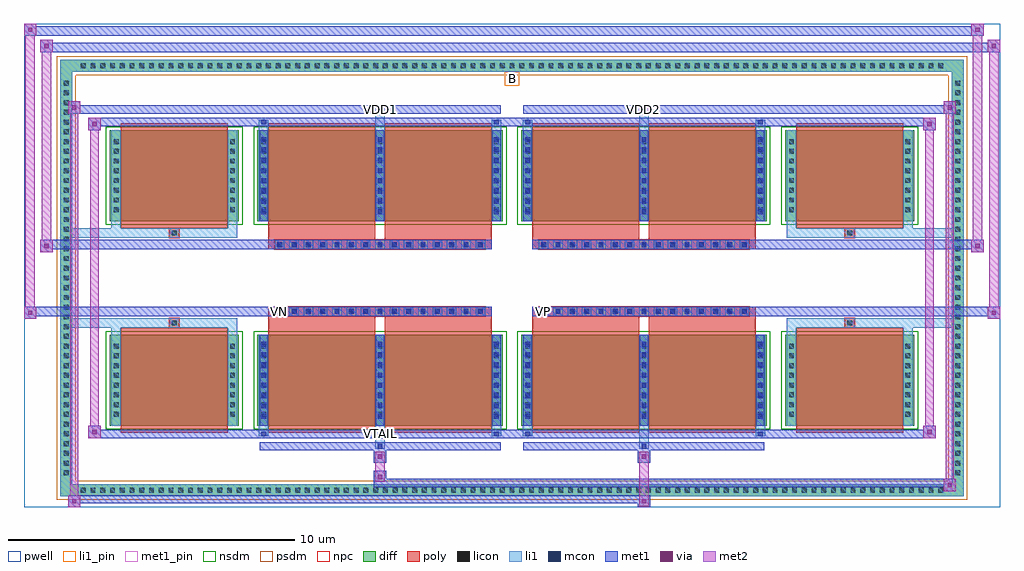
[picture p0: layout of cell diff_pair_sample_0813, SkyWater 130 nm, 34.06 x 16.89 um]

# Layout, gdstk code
import gdstk
lib = gdstk.Library(unit=1e-6, precision=5e-09)
def R(c, l, rs):  # rectangles x0, y0, x1, y1
    for r in rs: c.add(gdstk.rectangle(r[:2], r[2:], *l))
def A(c, l, x, y, w, h, nx, ny, dx, dy):  # array of equal rectangles
    R(c, l, [(x+i*dx, y+j*dy, x+i*dx+w, y+j*dy+h) for i in range(nx) for j in range(ny)])
def P(c, l, *ps):  # polygons
    for p in ps: c.add(gdstk.Polygon(p, *l))
pwell = (64, 44)
diff = (65, 20)
poly = (66, 20)
licon = (66, 44)
li1_pin = (67, 16)
li1 = (67, 20)
mcon = (67, 44)
met1_pin = (68, 16)
met1 = (68, 20)
via = (68, 44)
met2 = (69, 20)
nsdm = (93, 44)
psdm = (94, 20)
npc = (95, 20)

diff_pair_sample_0813 = lib.new_cell('diff_pair_sample_0813')
R(diff_pair_sample_0813, pwell, [(-17.03,-8.01,17.03,8.88), (-14.35,-6.2,-0.01,-0.8), (0.01,-6.2,14.35,-0.8), (-14.35,0.8,-0.01,6.2), (0.01,0.8,14.35,6.2)])
A(diff_pair_sample_0813, diff, -15.165, -7.61, 0.41, 0.41, 89, 2, 0.34, 14.81)
A(diff_pair_sample_0813, diff, -15.76, -7.005, 0.41, 0.41, 1, 41, 0, 0.34)
A(diff_pair_sample_0813, diff, 15.35, -7.005, 0.41, 0.41, 1, 41, 0, 0.34)
R(diff_pair_sample_0813, diff, [(-15.165,-7.61,15.165,-7.2), (-15.76,-7.005,-15.35,7.005), (15.35,-7.005,15.76,7.005), (-14.04,-5.155,-9.53,-1.985), (-8.89,-5.155,-0.32,-1.985), (0.32,-5.155,8.89,-1.985), (9.53,-5.155,14.04,-1.985), (-14.04,1.985,-9.53,5.155), (-8.89,1.985,-0.32,5.155), (0.32,1.985,8.89,5.155), (9.53,1.985,14.04,5.155), (-15.165,7.2,15.165,7.61)])
P(diff_pair_sample_0813, diff, [(15.76,7.61),(-15.76,7.61),(-15.76,-7.2),(-15.35,-7.2),(-15.35,7.2),(15.35,7.2),(15.35,-7.2),(-15.35,-7.2),(-15.76,-7.2),(-15.76,-7.61),(15.76,-7.61)])
A(diff_pair_sample_0813, poly, -8.27, -1.33, 0.33, 0.33, 15, 2, 0.5, 2.33)
A(diff_pair_sample_0813, poly, 0.94, -1.33, 0.33, 0.33, 15, 2, 0.5, 2.33)
R(diff_pair_sample_0813, poly, [(-13.65,-5.405,-9.92,-1.735), (-8.5,-5.405,-4.77,-1.735), (-4.44,-5.405,-0.71,-1.735), (0.71,-5.405,4.44,-1.735), (4.77,-5.405,8.5,-1.735), (9.92,-5.405,13.65,-1.735), (-11.95,-1.735,-11.62,-1.405), (-11.95,-1.735,-11.62,-1.405), (-8.5,-1.735,-4.77,-1.33), (-4.44,-1.735,-0.71,-1.33), (0.71,-1.735,4.44,-1.33), (4.77,-1.735,8.5,-1.33), (11.62,-1.735,11.95,-1.405), (11.62,-1.735,11.95,-1.405), (-8.5,-1.33,-0.71,-1), (0.71,-1.33,8.5,-1), (-8.5,1,-0.71,1.33), (0.71,1,8.5,1.33), (-8.5,1.33,-4.77,1.735), (-4.44,1.33,-0.71,1.735), (0.71,1.33,4.44,1.735), (4.77,1.33,8.5,1.735), (-11.95,1.405,-11.62,1.735), (-11.95,1.405,-11.62,1.735), (11.62,1.405,11.95,1.735), (11.62,1.405,11.95,1.735), (-13.65,1.735,-9.92,5.405), (-8.5,1.735,-4.77,5.405), (-4.44,1.735,-0.71,5.405), (0.71,1.735,4.44,5.405), (4.77,1.735,8.5,5.405), (9.92,1.735,13.65,5.405)])
A(diff_pair_sample_0813, licon, -15.045, -7.49, 0.17, 0.17, 89, 2, 0.34, 14.81)
A(diff_pair_sample_0813, licon, -15.64, -6.885, 0.17, 0.17, 1, 41, 0, 0.34)
A(diff_pair_sample_0813, licon, 15.47, -6.885, 0.17, 0.17, 1, 41, 0, 0.34)
A(diff_pair_sample_0813, licon, -13.9, -4.845, 0.17, 0.17, 1, 8, 0, 0.34)
A(diff_pair_sample_0813, licon, -9.84, -4.845, 0.17, 0.17, 1, 8, 0, 0.34)
A(diff_pair_sample_0813, licon, -8.75, -4.845, 0.17, 0.17, 3, 8, 4.06, 0.34)
A(diff_pair_sample_0813, licon, 0.46, -4.845, 0.17, 0.17, 3, 8, 4.06, 0.34)
A(diff_pair_sample_0813, licon, 9.67, -4.845, 0.17, 0.17, 1, 8, 0, 0.34)
A(diff_pair_sample_0813, licon, 13.73, -4.845, 0.17, 0.17, 1, 8, 0, 0.34)
A(diff_pair_sample_0813, licon, -8.19, -1.25, 0.17, 0.17, 15, 2, 0.5, 2.33)
A(diff_pair_sample_0813, licon, 1.02, -1.25, 0.17, 0.17, 15, 2, 0.5, 2.33)
A(diff_pair_sample_0813, licon, -13.9, 2.295, 0.17, 0.17, 1, 8, 0, 0.34)
A(diff_pair_sample_0813, licon, -9.84, 2.295, 0.17, 0.17, 1, 8, 0, 0.34)
A(diff_pair_sample_0813, licon, -8.75, 2.295, 0.17, 0.17, 3, 8, 4.06, 0.34)
A(diff_pair_sample_0813, licon, 0.46, 2.295, 0.17, 0.17, 3, 8, 4.06, 0.34)
A(diff_pair_sample_0813, licon, 9.67, 2.295, 0.17, 0.17, 1, 8, 0, 0.34)
A(diff_pair_sample_0813, licon, 13.73, 2.295, 0.17, 0.17, 1, 8, 0, 0.34)
R(diff_pair_sample_0813, licon, [(-11.87,-1.655,-11.7,-1.485), (11.7,-1.655,11.87,-1.485), (-11.87,1.485,-11.7,1.655), (11.7,1.485,11.87,1.655)])
R(diff_pair_sample_0813, li1_pin, [(-0.25,6.7,0.25,7.2)])
A(diff_pair_sample_0813, li1, -15.125, -7.57, 0.33, 0.33, 89, 2, 0.34, 14.81)
A(diff_pair_sample_0813, li1, -15.72, -6.965, 0.33, 0.33, 1, 41, 0, 0.34)
A(diff_pair_sample_0813, li1, 15.39, -6.965, 0.33, 0.33, 1, 41, 0, 0.34)
A(diff_pair_sample_0813, li1, -8.83, -5.155, 0.33, 3.17, 3, 2, 4.06, 7.14)
A(diff_pair_sample_0813, li1, 0.38, -5.155, 0.33, 3.17, 3, 2, 4.06, 7.14)
A(diff_pair_sample_0813, li1, -13.98, -4.925, 0.33, 0.33, 1, 8, 0, 0.34)
A(diff_pair_sample_0813, li1, -9.92, -4.925, 0.33, 0.33, 1, 8, 0, 0.34)
A(diff_pair_sample_0813, li1, -8.83, -4.925, 0.33, 0.33, 3, 8, 4.06, 0.34)
A(diff_pair_sample_0813, li1, 0.38, -4.925, 0.33, 0.33, 3, 8, 4.06, 0.34)
A(diff_pair_sample_0813, li1, 9.59, -4.925, 0.33, 0.33, 1, 8, 0, 0.34)
A(diff_pair_sample_0813, li1, 13.65, -4.925, 0.33, 0.33, 1, 8, 0, 0.34)
A(diff_pair_sample_0813, li1, -8.75, -4.915, 0.17, 0.17, 3, 8, 4.06, 0.36)
A(diff_pair_sample_0813, li1, -8.75, -4.915, 0.17, 2.69, 3, 2, 4.06, 7.14)
A(diff_pair_sample_0813, li1, 0.46, -4.915, 0.17, 0.17, 3, 8, 4.06, 0.36)
A(diff_pair_sample_0813, li1, 0.46, -4.915, 0.17, 2.69, 3, 2, 4.06, 7.14)
A(diff_pair_sample_0813, li1, -8.27, -1.33, 0.33, 0.33, 15, 2, 0.5, 2.33)
A(diff_pair_sample_0813, li1, 0.94, -1.33, 0.33, 0.33, 15, 2, 0.5, 2.33)
A(diff_pair_sample_0813, li1, -13.98, 2.215, 0.33, 0.33, 1, 8, 0, 0.34)
A(diff_pair_sample_0813, li1, -9.92, 2.215, 0.33, 0.33, 1, 8, 0, 0.34)
A(diff_pair_sample_0813, li1, -8.83, 2.215, 0.33, 0.33, 3, 8, 4.06, 0.34)
A(diff_pair_sample_0813, li1, 0.38, 2.215, 0.33, 0.33, 3, 8, 4.06, 0.34)
A(diff_pair_sample_0813, li1, 9.59, 2.215, 0.33, 0.33, 1, 8, 0, 0.34)
A(diff_pair_sample_0813, li1, 13.65, 2.215, 0.33, 0.33, 1, 8, 0, 0.34)
A(diff_pair_sample_0813, li1, -8.75, 2.225, 0.17, 0.17, 3, 8, 4.06, 0.36)
A(diff_pair_sample_0813, li1, 0.46, 2.225, 0.17, 0.17, 3, 8, 4.06, 0.36)
R(diff_pair_sample_0813, li1, [(-15.76,-7.61,-15.35,-7.2), (-15.76,-7.61,-15.35,-7.2), (-15.35,-7.61,15.35,-7.2), (15.35,-7.61,15.76,-7.2), (15.35,-7.61,15.76,-7.2), (-15.76,-7.2,-15.35,7.2), (15.35,-7.2,15.76,7.2), (-4.77,-5.96,-4.44,-5.155), (-4.69,-5.96,-4.52,-5.79), (4.44,-5.96,4.77,-5.155), (4.52,-5.96,4.69,-5.79), (-8.83,-5.53,-8.5,-5.155), (-8.75,-5.53,-8.58,-5.36), (-0.71,-5.53,-0.38,-5.155), (-0.63,-5.53,-0.46,-5.36), (0.38,-5.53,0.71,-5.155), (0.46,-5.53,0.63,-5.36), (8.5,-5.53,8.83,-5.155), (8.58,-5.53,8.75,-5.36), (-13.98,-5.155,-13.65,-1.985), (-9.92,-5.155,-9.59,-1.985), (9.59,-5.155,9.92,-1.985), (13.65,-5.155,13.98,-1.985), (-13.98,-1.985,-13.65,-1.405), (-9.92,-1.985,-9.59,-1.405), (9.59,-1.985,9.92,-1.405), (13.65,-1.985,13.98,-1.405), (-15.76,-1.735,-11.95,-1.405), (-13.98,-1.735,-11.95,-1.405), (-11.95,-1.735,-11.62,-1.405), (-11.62,-1.735,-9.59,-1.405), (9.59,-1.735,11.62,-1.405), (11.62,-1.735,11.95,-1.405), (11.62,-1.735,15.76,-1.405), (11.95,-1.735,13.98,-1.405), (-15.76,1.405,-11.95,1.735), (-13.98,1.405,-11.95,1.735), (-13.98,1.405,-13.65,1.985), (-11.95,1.405,-11.62,1.735), (-11.62,1.405,-9.59,1.735), (-9.92,1.405,-9.59,1.985), (9.59,1.405,11.62,1.735), (9.59,1.405,9.92,1.985), (11.62,1.405,11.95,1.735), (11.62,1.405,15.76,1.735), (11.95,1.405,13.98,1.735), (13.65,1.405,13.98,1.985), (-13.98,1.985,-13.65,5.155), (-9.92,1.985,-9.59,5.155), (9.59,1.985,9.92,5.155), (13.65,1.985,13.98,5.155), (-8.83,5.155,-8.5,5.53), (-4.77,5.155,-4.44,5.96), (-0.71,5.155,-0.38,5.53), (0.38,5.155,0.71,5.53), (4.44,5.155,4.77,5.96), (8.5,5.155,8.83,5.53), (-8.75,5.36,-8.58,5.53), (-0.63,5.36,-0.46,5.53), (0.46,5.36,0.63,5.53), (8.58,5.36,8.75,5.53), (-4.69,5.79,-4.52,5.96), (4.52,5.79,4.69,5.96), (-15.76,7.2,-15.35,7.61), (-15.76,7.2,-15.35,7.61), (-15.35,7.2,15.35,7.61), (15.35,7.2,15.76,7.61), (15.35,7.2,15.76,7.61)])
A(diff_pair_sample_0813, mcon, -8.75, -4.915, 0.17, 0.17, 3, 8, 4.06, 0.36)
A(diff_pair_sample_0813, mcon, 0.46, -4.915, 0.17, 0.17, 3, 8, 4.06, 0.36)
A(diff_pair_sample_0813, mcon, -8.19, -1.25, 0.17, 0.17, 15, 2, 0.5, 2.33)
A(diff_pair_sample_0813, mcon, 1.02, -1.25, 0.17, 0.17, 15, 2, 0.5, 2.33)
A(diff_pair_sample_0813, mcon, -8.75, 2.225, 0.17, 0.17, 3, 8, 4.06, 0.36)
A(diff_pair_sample_0813, mcon, 0.46, 2.225, 0.17, 0.17, 3, 8, 4.06, 0.36)
R(diff_pair_sample_0813, mcon, [(-4.69,-5.96,-4.52,-5.79), (4.52,-5.96,4.69,-5.79), (-8.75,-5.53,-8.58,-5.36), (-0.63,-5.53,-0.46,-5.36), (0.46,-5.53,0.63,-5.36), (8.58,-5.53,8.75,-5.36), (-8.75,5.36,-8.58,5.53), (-0.63,5.36,-0.46,5.53), (0.46,5.36,0.63,5.53), (8.58,5.36,8.75,5.53), (-4.69,5.79,-4.52,5.96), (4.52,5.79,4.69,5.96)])
R(diff_pair_sample_0813, met1_pin, [(-4.74,-5.57,-4.47,-5.3), (-8.24,-1.29,-7.97,-1.02), (0.97,-1.29,1.24,-1.02), (-4.74,5.75,-4.47,6.02), (4.47,5.75,4.74,6.02)])
A(diff_pair_sample_0813, met1, -8.81, -5.155, 0.29, 3.17, 3, 2, 4.06, 7.14)
A(diff_pair_sample_0813, met1, 0.4, -5.155, 0.29, 3.17, 3, 2, 4.06, 7.14)
A(diff_pair_sample_0813, met1, -8.81, -4.975, 0.29, 0.29, 3, 8, 4.06, 0.36)
A(diff_pair_sample_0813, met1, 0.4, -4.975, 0.29, 0.29, 3, 8, 4.06, 0.36)
A(diff_pair_sample_0813, met1, -8.25, -1.31, 0.29, 0.29, 15, 2, 0.5, 2.33)
A(diff_pair_sample_0813, met1, 0.96, -1.31, 0.29, 0.29, 15, 2, 0.5, 2.33)
A(diff_pair_sample_0813, met1, -8.81, 2.165, 0.29, 0.29, 3, 8, 4.06, 0.36)
A(diff_pair_sample_0813, met1, 0.4, 2.165, 0.29, 0.29, 3, 8, 4.06, 0.36)
R(diff_pair_sample_0813, met1, [(-15.49,-8.01,-15.06,-7.58), (4.39,-8.01,4.82,-7.58), (-15.49,-7.87,4.82,-7.58), (15.06,-7.44,15.49,-7.01), (-4.82,-7.3,15.49,-7.01), (-4.82,-7.16,-4.39,-6.73), (-4.82,-6.45,-4.39,-6.02), (4.39,-6.45,4.82,-6.02), (-8.81,-6.02,-0.4,-5.73), (-4.75,-6.02,-4.46,-5.73), (0.4,-6.02,8.81,-5.73), (4.46,-6.02,4.75,-5.73), (-14.78,-5.59,-14.35,-5.16), (-14.78,-5.59,-8.81,-5.3), (-8.81,-5.59,-8.52,-5.3), (-8.81,-5.59,-0.4,-5.3), (-0.69,-5.59,-0.4,-5.3), (-0.4,-5.59,0.4,-5.3), (0.4,-5.59,0.69,-5.3), (0.4,-5.59,8.81,-5.3), (8.52,-5.59,8.81,-5.3), (8.81,-5.59,14.78,-5.3), (14.35,-5.59,14.78,-5.16), (-17.03,-1.43,-16.6,-1), (16.6,-1.43,17.03,-1), (-17.03,-1.33,-0.71,-1), (-8.5,-1.33,-0.71,-1), (0.71,-1.33,8.5,-1), (0.71,-1.33,17.03,-1), (-16.46,0.9,-16.03,1.33), (16.03,0.9,16.46,1.33), (-16.46,1,-8.5,1.33), (-8.5,1,-0.71,1.33), (0.71,1,8.5,1.33), (8.5,1,16.46,1.33), (-14.78,5.16,-14.35,5.59), (14.35,5.16,14.78,5.59), (-14.78,5.3,-8.81,5.59), (-8.81,5.3,-8.52,5.59), (-8.81,5.3,-0.4,5.59), (-0.69,5.3,-0.4,5.59), (-0.4,5.3,0.4,5.59), (0.4,5.3,0.69,5.59), (0.4,5.3,8.81,5.59), (8.52,5.3,8.81,5.59), (8.81,5.3,14.78,5.59), (-15.49,5.73,-15.06,6.16), (-15.49,5.73,-8.81,6.02), (-8.81,5.73,-0.4,6.02), (-4.75,5.73,-4.46,6.02), (0.4,5.73,8.81,6.02), (4.46,5.73,4.75,6.02), (8.81,5.73,15.49,6.02), (15.06,5.73,15.49,6.16), (-16.46,7.88,-16.03,8.31), (-16.46,7.88,-14.35,8.21), (-14.35,7.88,14.35,8.21), (14.35,7.88,17.03,8.21), (16.6,7.88,17.03,8.31), (-17.03,8.45,-16.6,8.88), (-17.03,8.45,-14.35,8.78), (-14.35,8.45,14.35,8.78), (14.35,8.45,16.46,8.78), (16.03,8.45,16.46,8.88)])
R(diff_pair_sample_0813, via, [(-15.35,-7.87,-15.2,-7.72), (4.53,-7.87,4.68,-7.72), (15.2,-7.3,15.35,-7.15), (-4.68,-7.02,-4.53,-6.87), (-4.68,-6.31,-4.53,-6.16), (4.53,-6.31,4.68,-6.16), (-14.64,-5.45,-14.49,-5.3), (14.49,-5.45,14.64,-5.3), (-16.89,-1.29,-16.74,-1.14), (16.74,-1.29,16.89,-1.14), (-16.32,1.04,-16.17,1.19), (16.17,1.04,16.32,1.19), (-14.64,5.3,-14.49,5.45), (14.49,5.3,14.64,5.45), (-15.35,5.87,-15.2,6.02), (15.2,5.87,15.35,6.02), (-16.32,8.02,-16.17,8.17), (16.74,8.02,16.89,8.17), (-16.89,8.59,-16.74,8.74), (16.17,8.59,16.32,8.74)])
R(diff_pair_sample_0813, met2, [(-15.49,-8.01,-15.06,-7.58), (-15.42,-8.01,-15.13,6.16), (-15.13,-8.01,-15.06,-7.58), (-15.44,-7.96,-15.11,-7.63), (4.44,-7.96,4.77,-7.63), (4.44,-7.63,4.77,-6.4), (15.06,-7.44,15.49,-7.01), (15.13,-7.44,15.42,6.16), (15.42,-7.44,15.49,-7.01), (15.11,-7.39,15.44,-7.06), (-4.77,-7.11,-4.44,-6.78), (-4.77,-6.78,-4.44,-6.4), (-4.77,-6.4,-4.44,-6.07), (4.44,-6.4,4.77,-6.07), (-14.78,-5.59,-14.35,-5.16), (-14.71,-5.59,-14.42,5.59), (-14.42,-5.59,-14.35,-5.16), (14.35,-5.59,14.78,-5.16), (14.42,-5.59,14.71,5.59), (14.71,-5.59,14.78,-5.16), (-14.73,-5.54,-14.4,-5.21), (14.4,-5.54,14.73,-5.21), (-17.03,-1.43,-16.6,-1), (-16.98,-1.43,-16.65,8.88), (-16.65,-1.43,-16.6,-1), (16.6,-1.43,17.03,-1), (16.65,-1.43,16.98,8.31), (16.98,-1.43,17.03,-1), (-16.98,-1.38,-16.65,-1.05), (16.65,-1.38,16.98,-1.05), (-16.46,0.9,-16.03,1.33), (-16.41,0.9,-16.08,8.31), (-16.08,0.9,-16.03,1.33), (16.03,0.9,16.46,1.33), (16.08,0.9,16.41,8.88), (16.41,0.9,16.46,1.33), (-16.41,0.95,-16.08,1.28), (16.08,0.95,16.41,1.28), (-14.78,5.16,-14.35,5.59), (-14.42,5.16,-14.35,5.59), (14.35,5.16,14.78,5.59), (14.71,5.16,14.78,5.59), (-14.73,5.21,-14.4,5.54), (14.4,5.21,14.73,5.54), (-15.49,5.73,-15.06,6.16), (-15.13,5.73,-15.06,6.16), (15.06,5.73,15.49,6.16), (15.42,5.73,15.49,6.16), (-15.44,5.78,-15.11,6.11), (15.11,5.78,15.44,6.11), (-16.46,7.88,-16.03,8.31), (-16.08,7.88,-16.03,8.31), (16.6,7.88,17.03,8.31), (16.98,7.88,17.03,8.31), (-16.41,7.93,-16.08,8.26), (16.65,7.93,16.98,8.26), (-17.03,8.45,-16.6,8.88), (-16.65,8.45,-16.6,8.88), (16.03,8.45,16.46,8.88), (16.41,8.45,16.46,8.88), (-16.98,8.5,-16.65,8.83), (16.08,8.5,16.41,8.83)])
R(diff_pair_sample_0813, nsdm, [(-14.17,-5.285,-9.4,-1.855), (-9.02,-5.285,-0.19,-1.855), (0.19,-5.285,9.02,-1.855), (9.4,-5.285,14.17,-1.855), (-14.17,1.855,-9.4,5.285), (-9.02,1.855,-0.19,5.285), (0.19,1.855,9.02,5.285), (9.4,1.855,14.17,5.285)])
P(diff_pair_sample_0813, psdm, [(15.89,7.74),(-15.89,7.74),(-15.89,-7.07),(-15.22,-7.07),(-15.22,7.07),(15.22,7.07),(15.22,-7.07),(-15.22,-7.07),(-15.89,-7.07),(-15.89,-7.74),(15.89,-7.74)])
A(diff_pair_sample_0813, npc, -8.29, -1.35, 0.37, 0.37, 15, 2, 0.5, 2.33)
A(diff_pair_sample_0813, npc, 0.92, -1.35, 0.37, 0.37, 15, 2, 0.5, 2.33)
R(diff_pair_sample_0813, npc, [(-11.97,-1.755,-11.6,-1.385), (11.6,-1.755,11.97,-1.385), (-8.29,-1.35,-7.42,-0.98), (-8.29,-1.35,-7.42,-0.98), (-7.79,-1.35,-6.92,-0.98), (-7.79,-1.35,-6.92,-0.98), (-7.29,-1.35,-6.42,-0.98), (-7.29,-1.35,-6.42,-0.98), (-6.79,-1.35,-5.92,-0.98), (-6.79,-1.35,-5.92,-0.98), (-6.29,-1.35,-5.42,-0.98), (-6.29,-1.35,-5.42,-0.98), (-5.79,-1.35,-4.92,-0.98), (-5.79,-1.35,-4.92,-0.98), (-5.29,-1.35,-4.42,-0.98), (-5.29,-1.35,-4.42,-0.98), (-4.79,-1.35,-3.92,-0.98), (-4.79,-1.35,-3.92,-0.98), (-4.29,-1.35,-3.42,-0.98), (-4.29,-1.35,-3.42,-0.98), (-3.79,-1.35,-2.92,-0.98), (-3.79,-1.35,-2.92,-0.98), (-3.29,-1.35,-2.42,-0.98), (-3.29,-1.35,-2.42,-0.98), (-2.79,-1.35,-1.92,-0.98), (-2.79,-1.35,-1.92,-0.98), (-2.29,-1.35,-1.42,-0.98), (-2.29,-1.35,-1.42,-0.98), (-1.79,-1.35,-0.92,-0.98), (-1.79,-1.35,-0.92,-0.98), (0.92,-1.35,1.79,-0.98), (0.92,-1.35,1.79,-0.98), (1.42,-1.35,2.29,-0.98), (1.42,-1.35,2.29,-0.98), (1.92,-1.35,2.79,-0.98), (1.92,-1.35,2.79,-0.98), (2.42,-1.35,3.29,-0.98), (2.42,-1.35,3.29,-0.98), (2.92,-1.35,3.79,-0.98), (2.92,-1.35,3.79,-0.98), (3.42,-1.35,4.29,-0.98), (3.42,-1.35,4.29,-0.98), (3.92,-1.35,4.79,-0.98), (3.92,-1.35,4.79,-0.98), (4.42,-1.35,5.29,-0.98), (4.42,-1.35,5.29,-0.98), (4.92,-1.35,5.79,-0.98), (4.92,-1.35,5.79,-0.98), (5.42,-1.35,6.29,-0.98), (5.42,-1.35,6.29,-0.98), (5.92,-1.35,6.79,-0.98), (5.92,-1.35,6.79,-0.98), (6.42,-1.35,7.29,-0.98), (6.42,-1.35,7.29,-0.98), (6.92,-1.35,7.79,-0.98), (6.92,-1.35,7.79,-0.98), (7.42,-1.35,8.29,-0.98), (7.42,-1.35,8.29,-0.98), (-8.29,0.98,-7.42,1.35), (-8.29,0.98,-7.42,1.35), (-7.79,0.98,-6.92,1.35), (-7.79,0.98,-6.92,1.35), (-7.29,0.98,-6.42,1.35), (-7.29,0.98,-6.42,1.35), (-6.79,0.98,-5.92,1.35), (-6.79,0.98,-5.92,1.35), (-6.29,0.98,-5.42,1.35), (-6.29,0.98,-5.42,1.35), (-5.79,0.98,-4.92,1.35), (-5.79,0.98,-4.92,1.35), (-5.29,0.98,-4.42,1.35), (-5.29,0.98,-4.42,1.35), (-4.79,0.98,-3.92,1.35), (-4.79,0.98,-3.92,1.35), (-4.29,0.98,-3.42,1.35), (-4.29,0.98,-3.42,1.35), (-3.79,0.98,-2.92,1.35), (-3.79,0.98,-2.92,1.35), (-3.29,0.98,-2.42,1.35), (-3.29,0.98,-2.42,1.35), (-2.79,0.98,-1.92,1.35), (-2.79,0.98,-1.92,1.35), (-2.29,0.98,-1.42,1.35), (-2.29,0.98,-1.42,1.35), (-1.79,0.98,-0.92,1.35), (-1.79,0.98,-0.92,1.35), (0.92,0.98,1.79,1.35), (0.92,0.98,1.79,1.35), (1.42,0.98,2.29,1.35), (1.42,0.98,2.29,1.35), (1.92,0.98,2.79,1.35), (1.92,0.98,2.79,1.35), (2.42,0.98,3.29,1.35), (2.42,0.98,3.29,1.35), (2.92,0.98,3.79,1.35), (2.92,0.98,3.79,1.35), (3.42,0.98,4.29,1.35), (3.42,0.98,4.29,1.35), (3.92,0.98,4.79,1.35), (3.92,0.98,4.79,1.35), (4.42,0.98,5.29,1.35), (4.42,0.98,5.29,1.35), (4.92,0.98,5.79,1.35), (4.92,0.98,5.79,1.35), (5.42,0.98,6.29,1.35), (5.42,0.98,6.29,1.35), (5.92,0.98,6.79,1.35), (5.92,0.98,6.79,1.35), (6.42,0.98,7.29,1.35), (6.42,0.98,7.29,1.35), (6.92,0.98,7.79,1.35), (6.92,0.98,7.79,1.35), (7.42,0.98,8.29,1.35), (7.42,0.98,8.29,1.35), (-11.97,1.385,-11.6,1.755), (11.6,1.385,11.97,1.755)])
diff_pair_sample_0813.add(gdstk.Label('VTAIL', (-4.605,-5.435), layer=68, texttype=5))
diff_pair_sample_0813.add(gdstk.Label('VN', (-8.105,-1.155), layer=68, texttype=5))
diff_pair_sample_0813.add(gdstk.Label('VP', (1.105,-1.155), layer=68, texttype=5))
diff_pair_sample_0813.add(gdstk.Label('B', (0,6.95), layer=67, texttype=5))
diff_pair_sample_0813.add(gdstk.Label('VDD2', (4.605,5.885), layer=68, texttype=5))
diff_pair_sample_0813.add(gdstk.Label('VDD1', (-4.605,5.885), layer=68, texttype=5))

lib.write_gds('diff_pair_sample_0813.gds')
